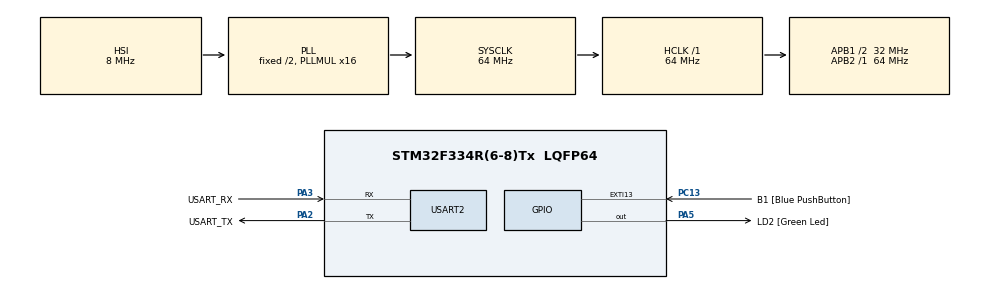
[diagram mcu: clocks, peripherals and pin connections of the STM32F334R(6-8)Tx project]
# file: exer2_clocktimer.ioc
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Mcu.Family=STM32F3
Mcu.Name=STM32F334R(6-8)Tx
Mcu.Package=LQFP64
NVIC.PriorityGroup=NVIC_PRIORITYGROUP_0
NVIC.TIM3_IRQn=true\:0\:0\:false\:false\:true\:true\:true
PA13.GPIO_Label=TMS
PA13.Mode=Serial_Wire
PA13.Signal=SYS_JTMS-SWDIO
PA14.GPIO_Label=TCK
PA14.Mode=Serial_Wire
PA14.Signal=SYS_JTCK-SWCLK
PA2.GPIO_Label=USART_TX
PA2.Mode=Asynchronous
PA2.Signal=USART2_TX
PA3.GPIO_Label=USART_RX
PA3.Mode=Asynchronous
PA3.Signal=USART2_RX
PA5.GPIO_Label=LD2 [Green Led]
PA5.Signal=GPIO_Output
PB3.GPIO_Label=SWO
PB3.Signal=SYS_JTDO-TRACESWO
PC13.GPIO_Label=B1 [Blue PushButton]
PC13.GPIO_ModeDefaultEXTI=GPIO_MODE_IT_FALLING
PC13.Signal=GPXTI13
PC14\ /\ OSC32_IN.Mode=LSE-External-Oscillator
PC14\ /\ OSC32_IN.Signal=RCC_OSC32_IN
PC15\ /\ OSC32_OUT.GPIO_Label=RCC_OSC32_OUT
PC15\ /\ OSC32_OUT.Mode=LSE-External-Oscillator
PC15\ /\ OSC32_OUT.Signal=RCC_OSC32_OUT
PF0\ /\ OSC_IN.Mode=HSE-External-Clock-Source
PF0\ /\ OSC_IN.Signal=RCC_OSC_IN
PF1\ /\ OSC_OUT.Signal=RCC_OSC_OUT
ProjectManager.HeapSize=0x200
ProjectManager.StackSize=0x400
ProjectManager.TargetToolchain=STM32CubeIDE
RCC.AHBFreq_Value=64000000
RCC.APB1CLKDivider=RCC_HCLK_DIV2
RCC.APB1Freq_Value=32000000
RCC.APB1TimFreq_Value=64000000
RCC.APB2Freq_Value=64000000
RCC.APB2TimFreq_Value=64000000
RCC.CortexFreq_Value=64000000
RCC.FLatency-AdvancedSettings=FLASH_LATENCY_2
RCC.HCLKFreq_Value=64000000
RCC.HSE_VALUE=8000000
RCC.HSI_VALUE=8000000
RCC.PLLMUL=RCC_PLL_MUL16
RCC.SYSCLKFreq_VALUE=64000000
RCC.SYSCLKSourceVirtual=RCC_SYSCLKSOURCE_PLLCLK
TIM3.Period=1000
TIM3.Prescaler=64000
USART2.VirtualMode-Asynchronous=VM_ASYNC
VP_TIM3_VS_ClockSourceINT.Mode=Internal
board=NUCLEO-F334R8

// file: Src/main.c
/* USER CODE BEGIN Header */
/**
  ******************************************************************************
  * @file           : main.c
  * @brief          : Main program body
  ******************************************************************************
  * @attention
  *
  * <h2><center>&copy; Copyright (c) 2019 STMicroelectronics.
  * All rights reserved.</center></h2>
  *
  * This software component is licensed by ST under BSD 3-Clause license,
  * the "License"; You may not use this file except in compliance with the
  * License. You may obtain a copy of the License at:
  *                        opensource.org/licenses/BSD-3-Clause
  *
  ******************************************************************************
  */
/* USER CODE END Header */

#include "main.h"

TIM_HandleTypeDef htim3;

UART_HandleTypeDef huart2;

void SystemClock_Config(void);
static void MX_GPIO_Init(void);
static void MX_USART2_UART_Init(void);
static void MX_TIM3_Init(void);

int main(void)
{

  /* MCU Configuration--------------------------------------------------------*/

  /* Reset of all peripherals, Initializes the Flash interface and the Systick. */
  HAL_Init();

  /* Configure the system clock */
  SystemClock_Config();

  /* Initialize all configured peripherals */
  MX_GPIO_Init();
  MX_USART2_UART_Init();
  MX_TIM3_Init();
  /* USER CODE BEGIN 2 */
  HAL_TIM_Base_Start_IT(&htim3);
  /* USER CODE END 2 */

  /* Infinite loop */
  while (1)
  {

  }
}

void SystemClock_Config(void)
{
  RCC_OscInitTypeDef RCC_OscInitStruct = {0};
  RCC_ClkInitTypeDef RCC_ClkInitStruct = {0};

  /** Initializes the CPU, AHB and APB busses clocks
  */
  RCC_OscInitStruct.OscillatorType = RCC_OSCILLATORTYPE_HSI;
  RCC_OscInitStruct.HSIState = RCC_HSI_ON;
  RCC_OscInitStruct.HSICalibrationValue = RCC_HSICALIBRATION_DEFAULT;
  RCC_OscInitStruct.PLL.PLLState = RCC_PLL_ON;
  RCC_OscInitStruct.PLL.PLLSource = RCC_PLLSOURCE_HSI;
  RCC_OscInitStruct.PLL.PLLMUL = RCC_PLL_MUL16;
  if (HAL_RCC_OscConfig(&RCC_OscInitStruct) != HAL_OK)
  {
    Error_Handler();
  }
  /** Initializes the CPU, AHB and APB busses clocks
  */
  RCC_ClkInitStruct.ClockType = RCC_CLOCKTYPE_HCLK|RCC_CLOCKTYPE_SYSCLK
                              |RCC_CLOCKTYPE_PCLK1|RCC_CLOCKTYPE_PCLK2;
  RCC_ClkInitStruct.SYSCLKSource = RCC_SYSCLKSOURCE_PLLCLK;
  RCC_ClkInitStruct.AHBCLKDivider = RCC_SYSCLK_DIV1;
  RCC_ClkInitStruct.APB1CLKDivider = RCC_HCLK_DIV2;
  RCC_ClkInitStruct.APB2CLKDivider = RCC_HCLK_DIV1;

  if (HAL_RCC_ClockConfig(&RCC_ClkInitStruct, FLASH_LATENCY_2) != HAL_OK)
  {
    Error_Handler();
  }
}

static void MX_TIM3_Init(void)
{

  TIM_ClockConfigTypeDef sClockSourceConfig = {0};
  TIM_MasterConfigTypeDef sMasterConfig = {0};

  htim3.Instance = TIM3;
  htim3.Init.Prescaler = 64000;
  htim3.Init.CounterMode = TIM_COUNTERMODE_UP;
  htim3.Init.Period = 1000;
  htim3.Init.ClockDivision = TIM_CLOCKDIVISION_DIV1;
  htim3.Init.AutoReloadPreload = TIM_AUTORELOAD_PRELOAD_DISABLE;
  if (HAL_TIM_Base_Init(&htim3) != HAL_OK)
  {
    Error_Handler();
  }
  sClockSourceConfig.ClockSource = TIM_CLOCKSOURCE_INTERNAL;
  if (HAL_TIM_ConfigClockSource(&htim3, &sClockSourceConfig) != HAL_OK)
  {
    Error_Handler();
  }
  sMasterConfig.MasterOutputTrigger = TIM_TRGO_RESET;
  sMasterConfig.MasterSlaveMode = TIM_MASTERSLAVEMODE_DISABLE;
  if (HAL_TIMEx_MasterConfigSynchronization(&htim3, &sMasterConfig) != HAL_OK)
  {
    Error_Handler();
  }

}

static void MX_USART2_UART_Init(void)
{

  huart2.Instance = USART2;
  huart2.Init.BaudRate = 38400;
  huart2.Init.WordLength = UART_WORDLENGTH_8B;
  huart2.Init.StopBits = UART_STOPBITS_1;
  huart2.Init.Parity = UART_PARITY_NONE;
  huart2.Init.Mode = UART_MODE_TX_RX;
  huart2.Init.HwFlowCtl = UART_HWCONTROL_NONE;
  huart2.Init.OverSampling = UART_OVERSAMPLING_16;
  huart2.Init.OneBitSampling = UART_ONE_BIT_SAMPLE_DISABLE;
  huart2.AdvancedInit.AdvFeatureInit = UART_ADVFEATURE_NO_INIT;
  if (HAL_UART_Init(&huart2) != HAL_OK)
  {
    Error_Handler();
  }

}

static void MX_GPIO_Init(void)
{
  GPIO_InitTypeDef GPIO_InitStruct = {0};

  /* GPIO Ports Clock Enable */
  __HAL_RCC_GPIOC_CLK_ENABLE();
  __HAL_RCC_GPIOF_CLK_ENABLE();
  __HAL_RCC_GPIOA_CLK_ENABLE();
  __HAL_RCC_GPIOB_CLK_ENABLE();

  /*Configure GPIO pin Output Level */
  HAL_GPIO_WritePin(LD2_GPIO_Port, LD2_Pin, GPIO_PIN_RESET);

  /*Configure GPIO pin : B1_Pin */
  GPIO_InitStruct.Pin = B1_Pin;
  GPIO_InitStruct.Mode = GPIO_MODE_IT_FALLING;
  GPIO_InitStruct.Pull = GPIO_NOPULL;
  HAL_GPIO_Init(B1_GPIO_Port, &GPIO_InitStruct);

  /*Configure GPIO pin : LD2_Pin */
  GPIO_InitStruct.Pin = LD2_Pin;
  GPIO_InitStruct.Mode = GPIO_MODE_OUTPUT_PP;
  GPIO_InitStruct.Pull = GPIO_NOPULL;
  GPIO_InitStruct.Speed = GPIO_SPEED_FREQ_LOW;
  HAL_GPIO_Init(LD2_GPIO_Port, &GPIO_InitStruct);

}

/* USER CODE BEGIN 4 */

	int hora = 0;
	int minuto = 0;
	int segundo = 0;
	char Buffer[100];

void HAL_TIM_PeriodElapsedCallback(TIM_HandleTypeDef *htim){

	if (segundo == 60){
		minuto++;
		segundo = 0;
		if (minuto == 60){
			hora++;
			segundo = 0;
			minuto = 0;
			if(hora == 24){
				hora = 0;
				minuto = 0;
				segundo = 0;
			}
		}
	}

	segundo++;

	sprintf(Buffer,"Relogio: %d:%d:%d\r\n",hora,minuto,segundo);

    HAL_UART_Transmit(&huart2,(char*)Buffer, 50, 100);

	HAL_GPIO_TogglePin(LD2_GPIO_Port, LD2_Pin);
}

/* USER CODE END 4 */

void Error_Handler(void)
{
}

/************************ (C) COPYRIGHT STMicroelectronics *****END OF FILE****/
